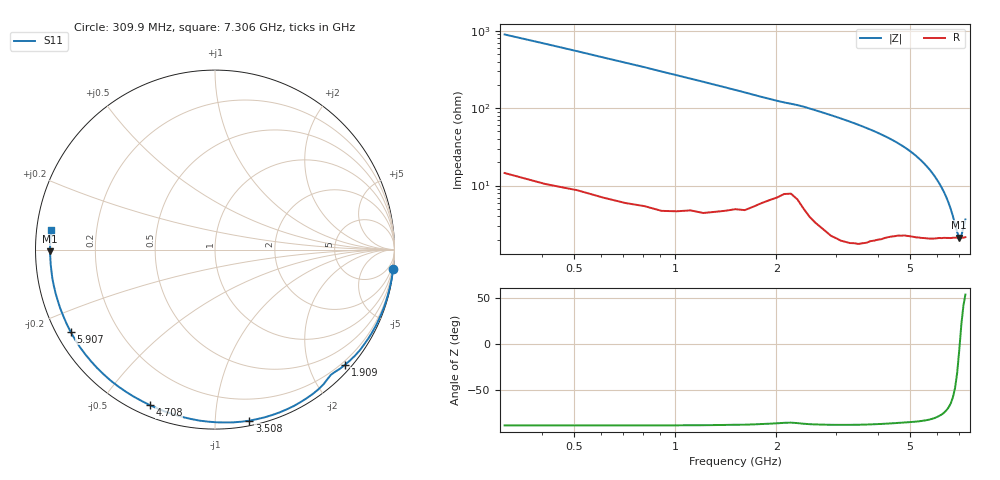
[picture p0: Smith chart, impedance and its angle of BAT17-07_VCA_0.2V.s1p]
! Infineon Technologies  Discrete & RF Semiconductors
! BAT17-07
! VCA = 0.2 V
! One-Port S-Parameters
# Hz  S  MA  R  50
!f  S11
!Hz  Mag  Ang
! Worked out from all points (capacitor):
!   71 points, 309.9 MHz to 7.306 GHz, reference 50 ohm
!   read as one part to ground: C = 569 fF near 309.9 MHz
!   lowest |Z| = 2.12 ohm at 7.006 GHz (marker M1)
!   series resonance near 7.03 GHz, so ESL is about 900 pH
!   S11 on the Smith chart (normalised r, x): 309.9 MHz: 0, -18; 1.909 GHz: 0.13, -2.63; 3.508 GHz: 0.04, -1.22; 4.708 GHz: 0.04, -0.66; 5.907 GHz: 0.04, -0.26; 7.306 GHz: 0.04, +0.06
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3.0985e8  0.9982 -6.4
5.0975e8  0.9971 -10.5
8.096e8  0.9954 -16.8
1.2094e9  0.9913 -25.6
1.6092e9  0.983 -34.7
1.90905e9  0.9679 -41.5
2.10895e9  0.9542 -45.6
2.30885e9  0.9555 -49.0
2.50875e9  0.9685 -53.5
2.8086e9  0.9743 -60.8
3.0085e9  0.9757 -65.8
3.30835e9  0.9745 -73.4
3.50825e9  0.9722 -78.7
3.8081e9  0.9646 -86.8
4.008e9  0.9593 -92.3
4.2079e9  0.9533 -98.0
4.50775e9  0.9446 -106.7
4.70765e9  0.9395 -112.8
4.90755e9  0.9359 -119.0
5.10745e9  0.9337 -125.3
5.4073e9  0.9308 -134.8
5.6072e9  0.9288 -141.2
5.90705e9  0.9257 -150.4
6.2069e9  0.9224 -159.1
6.50675e9  0.9204 -167.1
6.8066e9  0.9191 -174.6
7.0065e9  0.9191 -179.4
7.30635e9  0.9179 173.3
